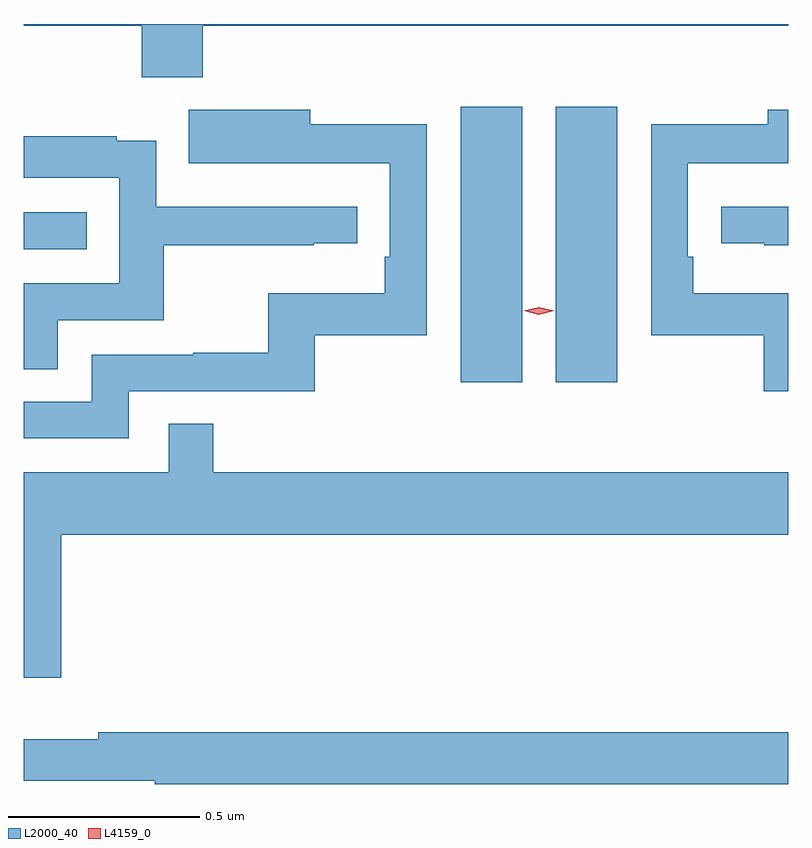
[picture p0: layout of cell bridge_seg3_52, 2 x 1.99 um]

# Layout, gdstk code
import gdstk
lib = gdstk.Library(unit=1e-6, precision=1e-09)
def R(c, l, rs):  # rectangles x0, y0, x1, y1
    for r in rs: c.add(gdstk.rectangle(r[:2], r[2:], *l))
def P(c, l, *ps):  # polygons
    for p in ps: c.add(gdstk.Polygon(p, *l))
L2000_40 = (2000, 40)
L4159_0 = (4159, 0)

bridge_seg3_52 = lib.new_cell('bridge_seg3_52')
R(bridge_seg3_52, L2000_40, [(1041.341,687.996,1041.502,688.717), (1041.59,687.996,1041.751,688.717), (1040.198,688.344,1040.363,688.44)])
P(bridge_seg3_52, L2000_40, [(1040.666,688.928),(1042.198,688.928),(1042.198,688.933),(1040.198,688.933),(1040.198,688.928),(1040.506,688.928),(1040.506,688.793),(1040.666,688.793)],
  [(1040.472,687.972),(1040.959,687.972),(1040.959,688.119),(1041.252,688.119),(1041.252,688.67),(1040.947,688.67),(1040.947,688.708),(1040.629,688.708),(1040.629,688.568),(1040.843,688.568),(1040.843,688.569),(1041.156,688.569),(1041.156,688.324),(1041.143,688.324),(1041.143,688.228),(1040.838,688.228),(1040.838,688.073),(1040.641,688.073),(1040.641,688.068),(1040.376,688.068),(1040.376,687.945),(1040.198,687.945),(1040.198,687.849),(1040.472,687.849)],
  [(1042.198,688.228),(1041.95,688.228),(1041.95,688.324),(1041.936,688.324),(1041.936,688.569),(1042.198,688.569),(1042.198,688.708),(1042.145,688.708),(1042.145,688.67),(1041.84,688.67),(1041.84,688.119),(1042.134,688.119),(1042.134,687.972),(1042.198,687.972)],
  [(1040.287,688.158),(1040.564,688.158),(1040.564,688.354),(1040.957,688.354),(1040.957,688.359),(1041.07,688.359),(1041.07,688.455),(1040.544,688.455),(1040.544,688.627),(1040.441,688.627),(1040.441,688.639),(1040.198,688.639),(1040.198,688.53),(1040.448,688.53),(1040.448,688.254),(1040.198,688.254),(1040.198,688.03),(1040.287,688.03)],
  [(1042.198,688.455),(1042.023,688.455),(1042.023,688.359),(1042.135,688.359),(1042.135,688.354),(1042.198,688.354)],
  [(1040.296,687.596),(1042.198,687.596),(1042.198,687.76),(1040.693,687.76),(1040.693,687.887),(1040.577,687.887),(1040.577,687.76),(1040.198,687.76),(1040.198,687.222),(1040.296,687.222)],
  [(1042.198,687.08),(1040.392,687.08),(1040.392,687.061),(1040.198,687.061),(1040.198,686.952),(1040.54,686.952),(1040.54,686.944),(1042.198,686.944)])
P(bridge_seg3_52, L4159_0, [(1041.546,688.172),(1041.506,688.182),(1041.506,688.182),(1041.506,688.182),(1041.546,688.192),(1041.586,688.182),(1041.586,688.182),(1041.586,688.182)])

lib.write_gds('bridge_seg3_52.gds')
